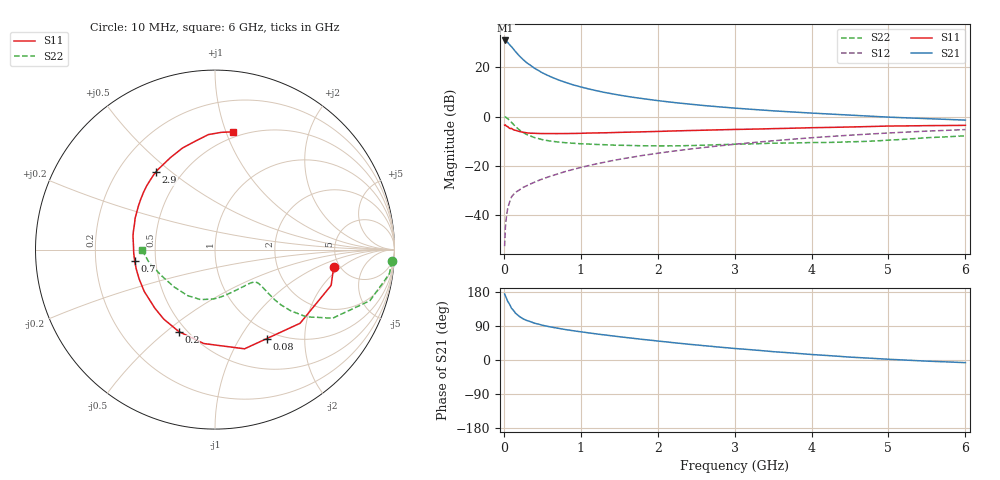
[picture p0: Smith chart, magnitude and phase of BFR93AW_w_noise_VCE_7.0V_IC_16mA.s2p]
! Infineon Technologies  Discrete & RF Semiconductors
! BFR93AW
! VCE =  7.0 V,  IC =  16 mA
! Common Emitter S-Parameters:  Jan 2017
# GHz  S  MA  R  50
!  f  S11  S21  S12  S22
! GHz  MAG  ANG  MAG  ANG  MAG  ANG  MAG  ANG
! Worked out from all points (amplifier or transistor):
!   77 points, 10 MHz to 6 GHz, reference 50 ohm
!   highest |S21| = 30.7 dB at 20 MHz (marker M1)
!   |S21| within 3 dB of that: start of sweep to 112.2 MHz
!   unconditionally stable (mu >= 1): 738.6 MHz to 2.064 GHz
!   at 130 MHz: K = 0.38, MSG = 29.2 dB, |S12| = -31.3 dB
!   at 2.2 GHz: K = 0.99, MSG = 9.9 dB, |S12| = -14.0 dB
!   at 6 GHz: K = 0.86, MSG = 1.9 dB, |S12| = -5.3 dB
!   lowest NFmin = 1.41 dB at 450 MHz
!   S11 on the Smith chart (normalised r, x): 10 MHz: 4.44, -1.58; 80 MHz: 0.89, -1.32; 200 MHz: 0.45, -0.55; 700 MHz: 0.38, -0.06; 2.9 GHz: 0.36, +0.44; 6 GHz: 0.45, +1.06
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0.01  0.6682 -8.5  34.3 174.4  0.0024 86.0  0.9883 -3.8
0.02  0.6771 -17.1  34.43 169.4  0.0057 83.8  0.9809 -7.9
0.05  0.627 -40.9  31.48 155.0  0.0138 73.1  0.9091 -18.2
0.08  0.5736 -59.8  27.65 144.8  0.0197 66.0  0.815 -24.9
0.1  0.5767 -73.4  25.71 136.4  0.0238 63.2  0.7596 -30.2
0.15  0.5271 -96.8  20.64 123.8  0.0293 57.7  0.6312 -36.4
0.2  0.4993 -113.8  16.88 115.2  0.0327 55.2  0.5398 -39.0
0.25  0.4811 -126.4  14.17 108.7  0.0369 54.9  0.4772 -40.0
0.3  0.4678 -135.8  12.12 104.1  0.0401 55.7  0.4303 -40.0
0.4  0.458 -149.4  9.415 97.0  0.0472 58.4  0.3744 -39.2
0.5  0.4532 -159.0  7.642 91.8  0.0546 60.3  0.3415 -38.4
0.6  0.452 -166.3  6.447 87.5  0.0618 62.5  0.3199 -38.0
0.7  0.4517 -172.1  5.56 83.9  0.0691 64.6  0.3062 -37.8
0.9  0.4543 178.0  4.369 77.3  0.0853 65.9  0.2884 -39.0
1.1  0.4632 170.4  3.62 71.7  0.1016 67.1  0.2777 -41.2
1.5  0.4782 158.5  2.71 61.5  0.1361 66.8  0.2624 -48.8
2.1  0.5049 143.5  2.011 48.0  0.19 64.5  0.2548 -65.3
2.9  0.543 127.3  1.523 32.3  0.2651 58.8  0.2725 -89.7
3.1  0.551 123.4  1.442 28.9  0.2844 57.0  0.2773 -95.4
4.1  0.5977 106.1  1.152 13.2  0.3816 47.4  0.2982 -124.1
5.1  0.6438 92.0  0.958 1.0  0.473 36.2  0.339 -157.5
6  0.6635 81.3  0.846 -7.0  0.5448 25.7  0.4078 -179.9
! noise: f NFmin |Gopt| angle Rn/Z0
0.45  1.41  0.12  146  0.13
0.9  1.69  0.23  168  0.14
1.9  2.69  0.47  -141  0.21
2.4  3.31  0.54  -127  0.41
